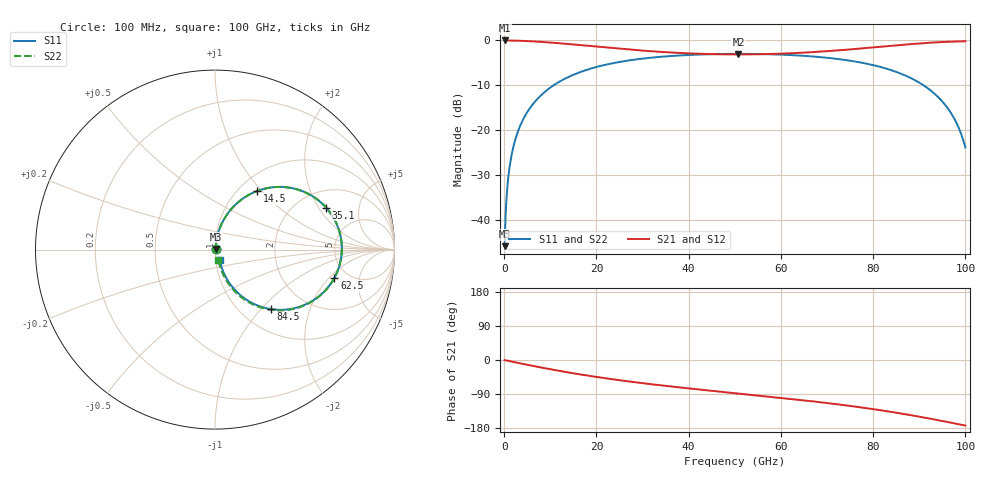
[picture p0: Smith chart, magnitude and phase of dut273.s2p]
! Touchstone file exported from HFSS 2026.1.0
!  File:  C:/ffzhzh/LocalFiles/Ansys_Project_Files/temp_train_RDL_273_1783501904_44152.aedt
!  Generated:  05:13:15 PM Jul  8, 2026
!  Design:  RDL
!  Project:  temp_train_RDL_273_1783501904_44152
! Variables:
!  h_bsmrdl = 2um
!  h_ox = 20um
!  h_rdl = 5um
!  h_sub = 80um
!  h_tmrdl = 4.73um
!  h_tsv = 80um
!  h_via = 3um
!  l_bsmrdl = 300um
!  l_sub = 987.86um
!  l_tmrdl = 587.86um
!  m_sub = 200um
!  pitch = 51.74um
!  r_tsv = 6um
!  s_tmrdl = 10um
!  w_bsmrdl = 18um
!  w_sub = 500um
!  w_tmrdl = 11.58um
!  x_tsv_center1 = 593.65um
!  x_tsv_center2 = 911.65um
!  x_tsv_center3 = 1511.09um
!  x_tsv_center4 = 1829.09um
!  x_tsv_center5 = 2428.53um
!  x_tsv_center6 = 2746.53um
# GHz S MA R 50.000000
! Terminal data exported
! Port[1] = TM_RDL1_1_T1
! Port[2] = TM_RDL1_1_T2
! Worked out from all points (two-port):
!   1000 points, 100 MHz to 100 GHz, reference 50 ohm
!   highest |S21| = -0.03 dB at 100 MHz (marker M1); lowest = -3.1 dB at 50.8 GHz (marker M2)
!   |S21| within 3 dB of the highest: start of sweep to 43.38 GHz; 58.24 GHz to end of sweep
!   lowest |S11| = -45.9 dB at 100 MHz (marker M3), VSWR 1.01, Z = 50.4 + j0.338 ohm
!   |S11| at or under -10 dB: start of sweep to 10.76 GHz; 90.89 GHz to end of sweep
!   |S22| runs from -45.9 to -3.0 dB; largest |S21 - S12| = 1.7e-14
!   S11 on the Smith chart (normalised r, x): 100 MHz: 1.01, +0.01; 14.5 GHz: 1.21, +0.94; 35.1 GHz: 2.82, +2.35; 62.5 GHz: 3.89, -2.30; 84.5 GHz: 1.36, -1.13; 100 GHz: 1.05, -0.12
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0.1  0.005098 41.1  0.9962 -0.3  0.9962 -0.3  0.005098 41.1
! Gamma 0 0 0 0
! Port Impedance 50 0 50 0
0.8  0.02663 78.6  0.9954 -2.1  0.9954 -2.1  0.02663 78.6
1.3  0.04267 80.6  0.9946 -3.3  0.9946 -3.3  0.04267 80.6
2.3  0.07467 80.2  0.9921 -5.9  0.9921 -5.9  0.07467 80.2
3.6  0.1155 77.9  0.9873 -9.2  0.9873 -9.2  0.1155 77.9
5.4  0.1701 73.9  0.978 -13.6  0.978 -13.6  0.1701 73.9
7.8  0.2388 68.5  0.9619 -19.3  0.9619 -19.3  0.2388 68.5
14.5  0.4023 54.3  0.9036 -34.0  0.9036 -34.0  0.4023 54.3
16.8  0.4483 49.8  0.8815 -38.7  0.8815 -38.7  0.4484 49.8
24.2  0.564 36.7  0.813 -52.0  0.813 -52.0  0.564 36.7
33.4  0.6514 22.9  0.7463 -66.1  0.7463 -66.1  0.6515 22.9
35.1  0.6623 20.6  0.7369 -68.4  0.7369 -68.4  0.6624 20.6
50.1  0.7066 1.9  0.6963 -87.6  0.6963 -87.6  0.7067 1.8
50.8  0.7067 1.0  0.6962 -88.4  0.6962 -88.4  0.7068 0.9
62.5  0.6834 -13.3  0.7186 -103.1  0.7186 -103.1  0.6834 -13.5
66.7  0.6619 -18.8  0.7376 -108.8  0.7376 -108.8  0.662 -19.1
83.4  0.4745 -44.8  0.8641 -135.9  0.8641 -135.9  0.4745 -45.4
84.5  0.4545 -46.8  0.8742 -138.1  0.8742 -138.1  0.4545 -47.4
90.2  0.3329 -57.6  0.9241 -150.0  0.9241 -150.0  0.3328 -58.6
94.5  0.2219 -65.6  0.9544 -159.8  0.9544 -159.8  0.2216 -67.2
97.6  0.1338 -69.5  0.9691 -167.2  0.9691 -167.2  0.1332 -72.4
100  0.06382 -65.6  0.9752 -173.0  0.9752 -173.0  0.06218 -71.9
